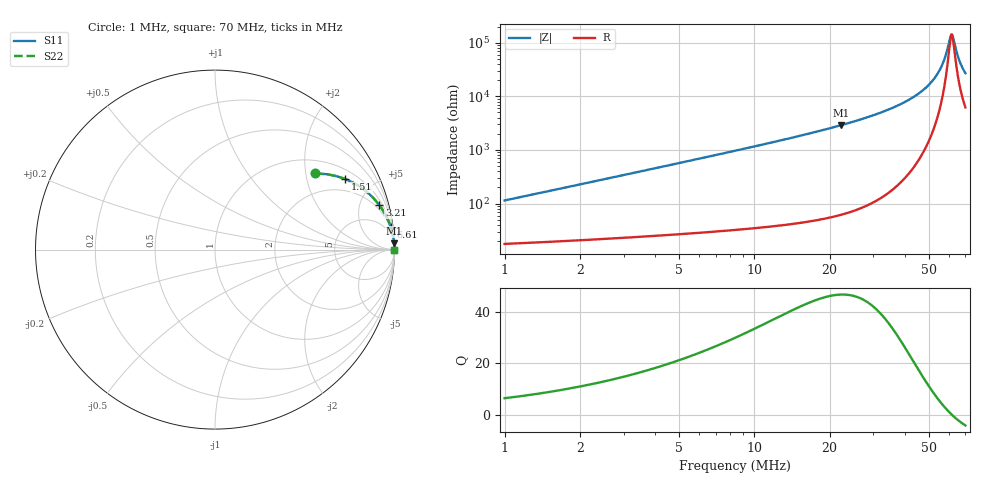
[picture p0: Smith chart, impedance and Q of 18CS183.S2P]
! Coilcraft 1812CS-183 Chip Inductor
! 31 July 2002
# MHZ S MA R 50
!Freq  MagS11  AngS11  MagS21  AngS21  MagS12  AngS12  MagS22  AngS22
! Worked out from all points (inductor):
!   407 points, 1 MHz to 70 MHz, reference 50 ohm
!   read as one part in series: L = 18 uH near 1.34 MHz
!   highest Q = 46.8 at 22.25 MHz (marker M1), where L = 20.7 uH
!   self-resonance near 61.69 MHz
!   S11 on the Smith chart (normalised r, x): 1 MHz: 1.35, +2.26; 1.51 MHz: 1.39, +3.42; 3.21 MHz: 1.47, +7.28; 6.61 MHz: 2, +15; 70 MHz: open
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1  0.7014 37.2  0.6125 -43.9  0.6125 -43.9  0.7014 37.2
1.51  0.825 28.5  0.4797 -55.1  0.4797 -55.1  0.825 28.5
2.19  0.9017 21.2  0.3623 -64.0  0.3623 -64.0  0.9017 21.2
3.21  0.949 15.0  0.2601 -71.3  0.2601 -71.3  0.949 15.0
4.74  0.9748 10.4  0.1805 -76.8  0.1805 -76.8  0.9748 10.4
6.61  0.9864 7.5  0.1303 -80.3  0.1303 -80.3  0.9864 7.5
12.56  0.996 3.9  0.06719 -84.6  0.06719 -84.6  0.996 3.9
22.25  0.9987 2.0  0.03452 -86.8  0.03452 -86.8  0.9987 2.0
24.12  0.9989 1.8  0.03101 -87.0  0.03101 -87.0  0.9989 1.8
35.51  0.9994 1.0  0.01664 -87.4  0.01664 -87.4  0.9994 1.0
47.07  0.9994 0.4  0.007863 -85.7  0.007863 -85.7  0.9994 0.4
50.98  0.9994 0.3  0.005529 -83.9  0.005529 -83.9  0.9994 0.3
54.04  0.9994 0.2  0.003857 -80.9  0.003857 -80.9  0.9994 0.2
56.59  0.9994 0.1  0.002562 -75.7  0.002562 -75.7  0.9994 0.1
58.63  0.9993 0.1  0.001609 -65.9  0.001609 -65.9  0.9993 0.1
61.01  0.9993 0.0  0.0007673 -25.6  0.0007673 -25.6  0.9993 0.0
61.86  0.9993 -0.0  0.0007087 5.2  0.0007087 5.2  0.9993 -0.0
62.54  0.9993 -0.0  0.0008098 27.7  0.0008098 27.7  0.9993 -0.0
64.41  0.9993 -0.1  0.00143 58.4  0.00143 58.4  0.9993 -0.1
65.94  0.9992 -0.1  0.002043 67.6  0.002043 67.6  0.9992 -0.1
67.98  0.9992 -0.2  0.00288 73.4  0.00288 73.4  0.9992 -0.2
70  0.9991 -0.2  0.003703 76.5  0.003703 76.5  0.9991 -0.2
